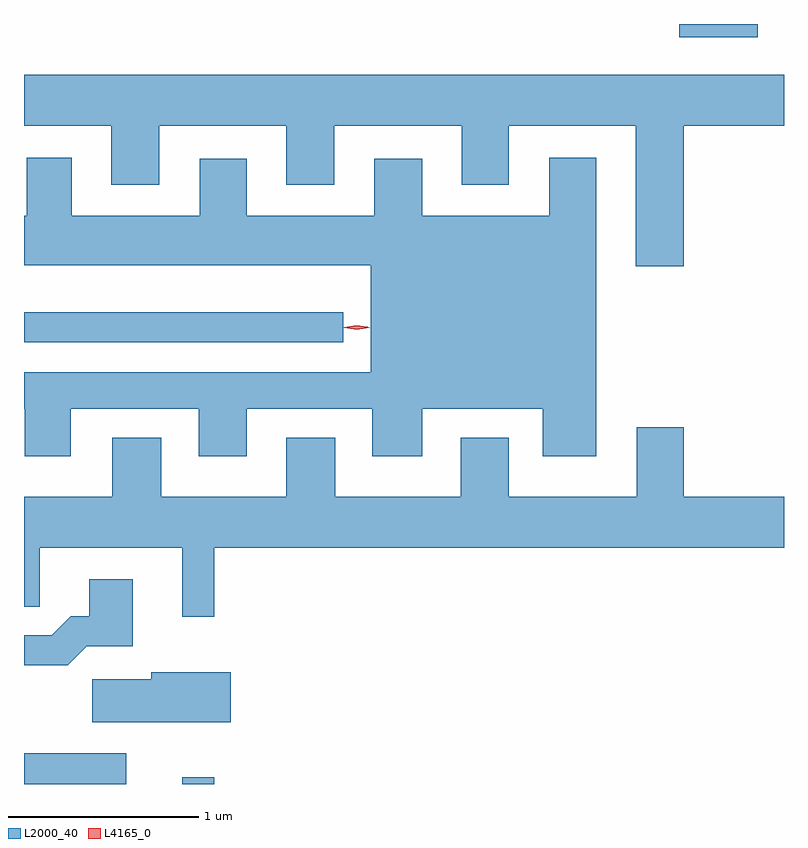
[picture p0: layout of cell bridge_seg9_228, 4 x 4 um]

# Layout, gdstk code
import gdstk
lib = gdstk.Library(unit=1e-6, precision=1e-09)
def R(c, l, rs):  # rectangles x0, y0, x1, y1
    for r in rs: c.add(gdstk.rectangle(r[:2], r[2:], *l))
def P(c, l, *ps):  # polygons
    for p in ps: c.add(gdstk.Polygon(p, *l))
L2000_40 = (2000, 40)
L4165_0 = (4165, 0)

bridge_seg9_228 = lib.new_cell('bridge_seg9_228')
R(bridge_seg9_228, L2000_40, [(1445.057,1959.492,1445.594,1959.654), (1445.891,1959.492,1446.059,1959.528), (1445.057,1961.816,1446.738,1961.974), (1448.506,1963.421,1448.919,1963.492)])
P(bridge_seg9_228, L2000_40, [(1448.529,1962.956),(1449.057,1962.956),(1449.057,1963.224),(1445.057,1963.224),(1445.057,1962.956),(1445.516,1962.956),(1445.516,1962.646),(1445.769,1962.646),(1445.769,1962.956),(1446.436,1962.956),(1446.436,1962.646),(1446.689,1962.646),(1446.689,1962.956),(1447.361,1962.956),(1447.361,1962.646),(1447.609,1962.646),(1447.609,1962.956),(1448.276,1962.956),(1448.276,1962.216),(1448.529,1962.216)],
  [(1445.304,1961.466),(1445.976,1961.466),(1445.976,1961.216),(1446.229,1961.216),(1446.229,1961.466),(1446.891,1961.466),(1446.891,1961.216),(1447.154,1961.216),(1447.154,1961.466),(1447.786,1961.466),(1447.786,1961.216),(1448.069,1961.216),(1448.069,1962.789),(1447.821,1962.789),(1447.821,1962.484),(1447.154,1962.484),(1447.154,1962.784),(1446.901,1962.784),(1446.901,1962.484),(1446.229,1962.484),(1446.229,1962.784),(1445.981,1962.784),(1445.981,1962.484),(1445.309,1962.484),(1445.309,1962.789),(1445.071,1962.789),(1445.071,1962.484),(1445.057,1962.484),(1445.057,1962.221),(1446.881,1962.221),(1446.881,1961.659),(1445.057,1961.659),(1445.057,1961.466),(1445.061,1961.466),(1445.061,1961.216),(1445.304,1961.216)],
  [(1449.057,1961.004),(1448.529,1961.004),(1448.529,1961.369),(1448.281,1961.369),(1448.281,1961.004),(1447.609,1961.004),(1447.609,1961.314),(1447.356,1961.314),(1447.356,1961.004),(1446.694,1961.004),(1446.694,1961.314),(1446.436,1961.314),(1446.436,1961.004),(1445.779,1961.004),(1445.779,1961.314),(1445.521,1961.314),(1445.521,1961.004),(1445.057,1961.004),(1445.057,1960.426),(1445.139,1960.426),(1445.139,1960.736),(1445.891,1960.736),(1445.891,1960.373),(1446.059,1960.373),(1446.059,1960.736),(1449.057,1960.736)],
  [(1445.387,1960.216),(1445.629,1960.216),(1445.629,1960.569),(1445.401,1960.569),(1445.401,1960.374),(1445.304,1960.374),(1445.204,1960.274),(1445.057,1960.274),(1445.057,1960.116),(1445.287,1960.116)],
  [(1446.144,1960.079),(1445.726,1960.079),(1445.726,1960.044),(1445.416,1960.044),(1445.416,1959.816),(1446.144,1959.816)])
P(bridge_seg9_228, L4165_0, [(1446.809,1961.884),(1446.74,1961.894),(1446.74,1961.894),(1446.74,1961.894),(1446.809,1961.904),(1446.877,1961.894),(1446.878,1961.894),(1446.877,1961.894)],
  [(1446.805,1961.886),(1446.743,1961.894),(1446.743,1961.895),(1446.743,1961.895),(1446.805,1961.906),(1446.867,1961.898),(1446.868,1961.897),(1446.867,1961.897)])

lib.write_gds('bridge_seg9_228.gds')
